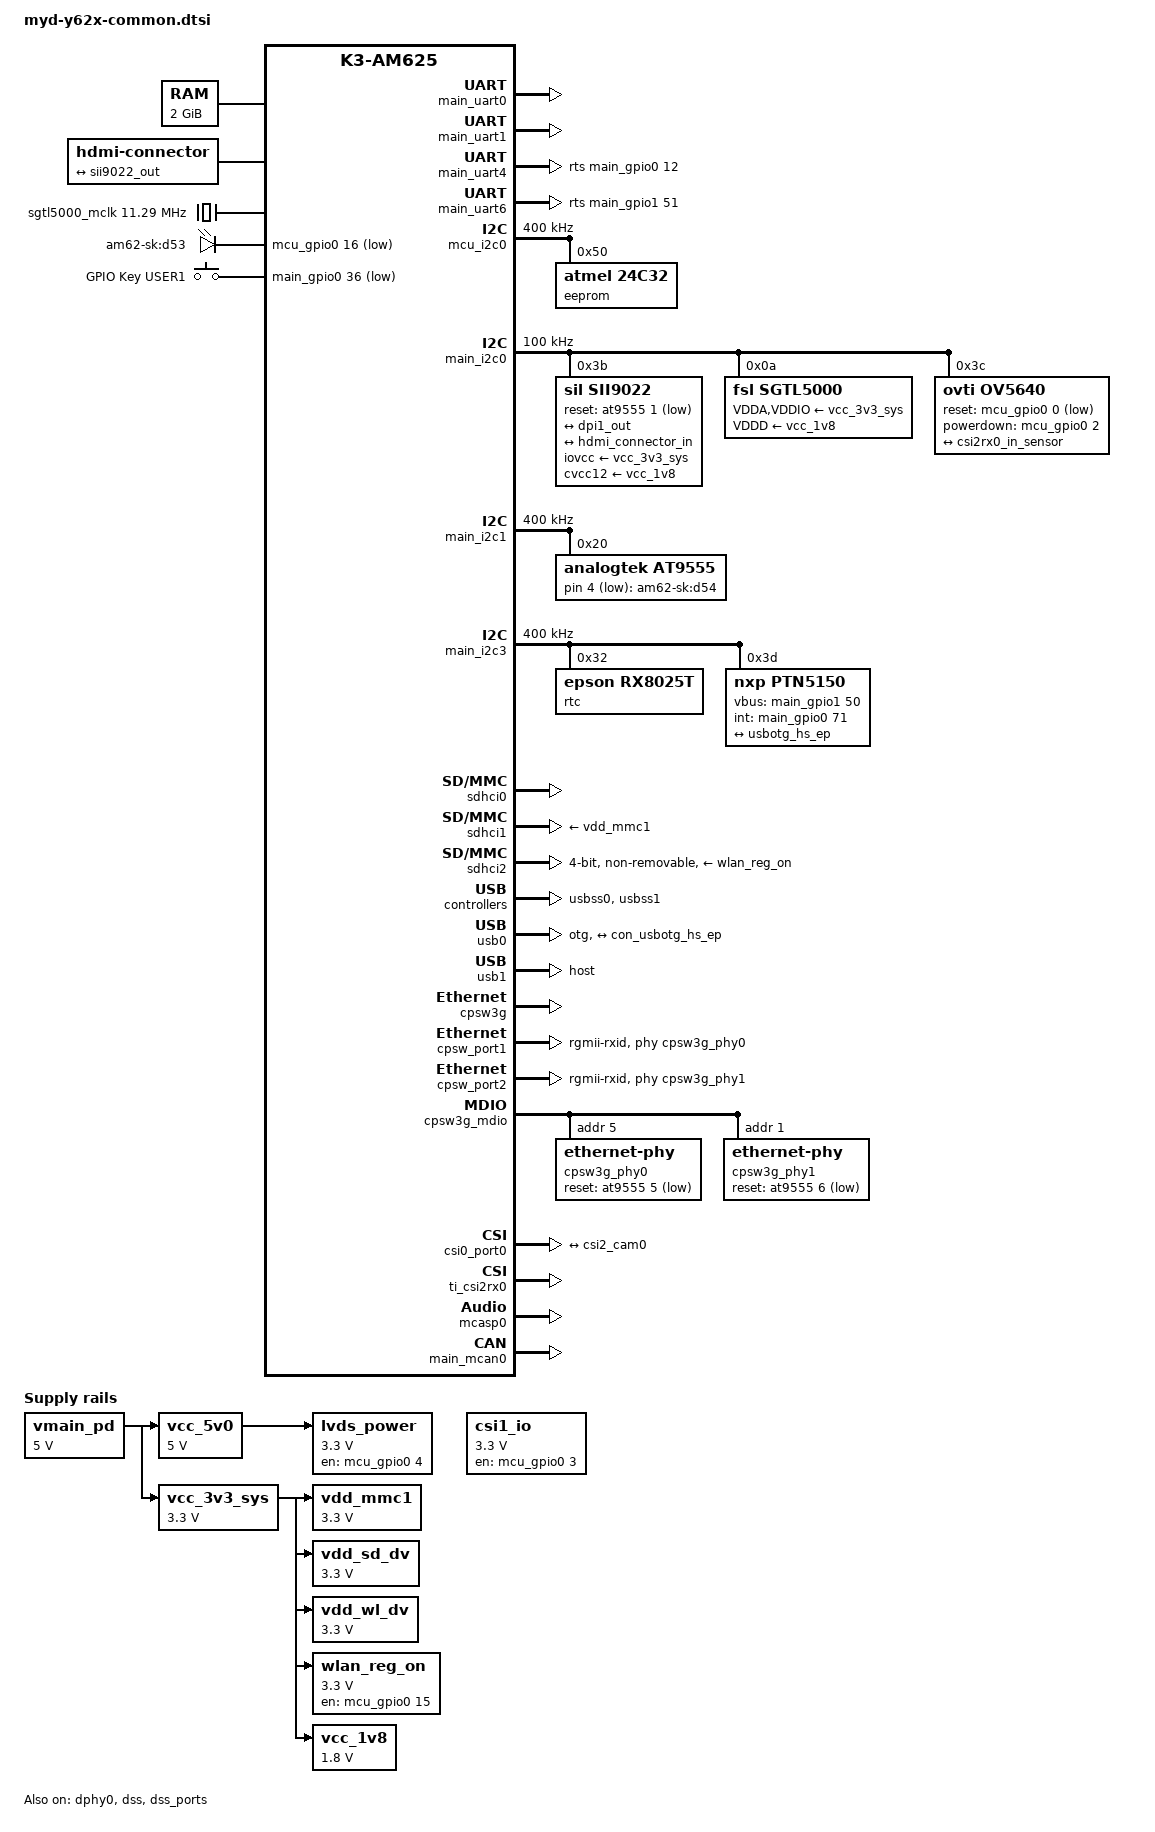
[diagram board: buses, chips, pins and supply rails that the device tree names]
// SPDX-License-Identifier: GPL-2.0
/*
 * Common dtsi for AM62x SK and derivatives
 *
 * Copyright (C) 2021-2023 Texas Instruments Incorporated - https://www.ti.com/
 */

#include <dt-bindings/leds/common.h>
#include <dt-bindings/gpio/gpio.h>
#include <dt-bindings/net/ti-dp83867.h>
#include <dt-bindings/input/input.h>
#include "k3-am625.dtsi"

/ {
	aliases {
		serial2 = &main_uart0;
		serial3 = &main_uart1;
		serial6 = &main_uart4;
		serial8 = &main_uart6;
		mmc0 = &sdhci0;
		mmc1 = &sdhci1;
		mmc2 = &sdhci2;
		spi0 = &ospi0;
		ethernet0 = &cpsw_port1;
		ethernet1 = &cpsw_port2;
		usb0 = &usb0;
		usb1 = &usb1;
	};

	chosen {
		stdout-path = "serial2:115200n8";
		bootargs = "console=ttyS2,115200n8 earlycon=ns16550a,mmio32,0x02800000";
	};

	opp-table {
		/* Add 1.4GHz OPP for am625-sk board. Requires VDD_CORE to be at 0.85V */
		opp-1400000000 {
			opp-hz = /bits/ 64 <1400000000>;
			opp-supported-hw = <0x01 0x0004>;
			clock-latency-ns = <6000000>;
		};
	};

	memory@80000000 {
		device_type = "memory";
		/* 2G RAM */
		reg = <0x00000000 0x80000000 0x00000000 0x80000000>;

	};

	reserved-memory {
		#address-cells = <2>;
		#size-cells = <2>;
		ranges;

		ramoops@9c700000 {
			compatible = "ramoops";
			reg = <0x00 0x9c700000 0x00 0x00100000>;
			record-size = <0x8000>;
			console-size = <0x8000>;
			ftrace-size = <0x00>;
			pmsg-size = <0x8000>;
		};



		rtos_ipc_memory_region: ipc-memories@9c800000 {
			compatible = "shared-dma-pool";
			reg = <0x00 0x9c800000 0x00 0x00300000>;
			no-map;
		};

		mcu_m4fss_dma_memory_region: m4f-dma-memory@9cb00000 {
			compatible = "shared-dma-pool";
			reg = <0x00 0x9cb00000 0x00 0x100000>;
			no-map;
		};

		mcu_m4fss_memory_region: m4f-memory@9cc00000 {
			compatible = "shared-dma-pool";
			reg = <0x00 0x9cc00000 0x00 0xe00000>;
			no-map;
		};

		wkup_r5fss0_core0_dma_memory_region: r5f-dma-memory@9da00000 {
			compatible = "shared-dma-pool";
			reg = <0x00 0x9da00000 0x00 0x00100000>;
			no-map;
		};

		wkup_r5fss0_core0_memory_region: r5f-memory@9db00000 {
			compatible = "shared-dma-pool";
			reg = <0x00 0x9db00000 0x00 0x00c00000>;
			no-map;
		};

		lpm_ctx_ddr: lpm-memory@9e700000 {
			reg = <0x00 0x9e700000 0x00 0x80000>;
			alignment = <0x1000>;
		};

		secure_tfa_ddr: tfa@9e780000 {
			reg = <0x00 0x9e780000 0x00 0x80000>;
			alignment = <0x1000>;
			no-map;
		};

		secure_ddr: optee@9e800000 {
			reg = <0x00 0x9e800000 0x00 0x01800000>; /* for OP-TEE */
			alignment = <0x1000>;
			no-map;
		};

		framebuffer: framebuffer@ff700000 {
			reg = <0x00 0xff700000 0x00 0x008ca000>;
			no-map;
		};
	};

	vmain_pd: regulator-0 {
		compatible = "regulator-fixed";
		regulator-name = "vmain_pd";
		regulator-min-microvolt = <5000000>;
		regulator-max-microvolt = <5000000>;
		regulator-always-on;
		regulator-boot-on;
	};

	vcc_5v0: regulator-1 {
		compatible = "regulator-fixed";
		regulator-name = "vcc_5v0";
		regulator-min-microvolt = <5000000>;
		regulator-max-microvolt = <5000000>;
		vin-supply = <&vmain_pd>;
		regulator-always-on;
		regulator-boot-on;
	};

	vcc_3v3_sys: regulator-2 {
		compatible = "regulator-fixed";
		regulator-name = "vcc_3v3_sys";
		regulator-min-microvolt = <3300000>;
		regulator-max-microvolt = <3300000>;
		vin-supply = <&vmain_pd>;
		regulator-always-on;
		regulator-boot-on;
	};

	vdd_mmc1: regulator-3 {
		compatible = "regulator-fixed";
		regulator-name = "vdd_mmc1";
		regulator-min-microvolt = <3300000>;
		regulator-max-microvolt = <3300000>;
		regulator-boot-on;
		enable-active-high;
		vin-supply = <&vcc_3v3_sys>;
	};

	vdd_sd_dv: regulator-sd {
		compatible = "regulator-fixed";
		regulator-name = "vdd_sd_dv";
		regulator-min-microvolt = <3300000>;
		regulator-max-microvolt = <3300000>;
		regulator-boot-on;
		enable-active-high;
		vin-supply = <&vcc_3v3_sys>;
	};

	vdd_wl_dv: regulator-wl {
		compatible = "regulator-fixed";
		regulator-name = "vdd_wl_dv";
		regulator-min-microvolt = <3300000>;
		regulator-max-microvolt = <3300000>;
		regulator-boot-on;
		enable-active-high;
		vin-supply = <&vcc_3v3_sys>;
	};

	wlan_reg_on: regulator-4 {
		compatible = "regulator-fixed";
		regulator-name = "wlan_reg_on";
		regulator-min-microvolt = <3300000>;
		regulator-max-microvolt = <3300000>;
		enable-active-high;
		regulator-boot-on;
		vin-supply = <&vcc_3v3_sys>;
		pinctrl-names = "default";
		pinctrl-1 = <&mcu_wlan_reg_on_pins_default>;
		gpios = <&mcu_gpio0 15 GPIO_ACTIVE_HIGH>;
	};

	vcc_1v8: regulator-5 {
		compatible = "regulator-fixed";
		regulator-name = "vcc_1v8";
		regulator-min-microvolt = <1800000>;
		regulator-max-microvolt = <1800000>;
		vin-supply = <&vcc_3v3_sys>;
		regulator-always-on;
		regulator-boot-on;
	};

	lvds_power: regulator-6 {
		compatible = "regulator-fixed";
		regulator-name = "lvds_power";
		regulator-min-microvolt = <3300000>;
		regulator-max-microvolt = <3300000>;
		enable-active-high;
		regulator-always-on;
		regulator-boot-on;
		vin-supply = <&vcc_5v0>;
		pinctrl-names = "default";
		pinctrl-1 = <&mcu_lvds_power_pins_default>;
		gpios = <&mcu_gpio0 4 GPIO_ACTIVE_HIGH>;
	};

	csi1_io: csi1-io {
		compatible = "regulator-fixed";
		regulator-name = "csi1_pwr";
		regulator-min-microvolt = <3300000>;
		regulator-max-microvolt = <3300000>;
		gpio = <&mcu_gpio0 3 GPIO_ACTIVE_HIGH>;
		enable-active-high;
		regulator-always-on;
		pinctrl-names = "default";
		pinctrl-1 = <&csi_io_power_pins_default>;
	};




	hdmi: connector {
		compatible = "hdmi-connector";
		label = "hdmi";
		type = "a";
		port {
			hdmi_connector_in: endpoint {
				remote-endpoint = <&sii9022_out>;
			};
		};
	};

	clk_ov5640_fixed: ov5640-xclk {
		compatible = "fixed-clock";
		#clock-cells = <0>;
		clock-frequency = <12000000>;
	};

	sgtl5000_mclk: sgtl5000-mclk {
		compatible = "fixed-clock";
		#clock-cells = <0>;
		clock-frequency = <11289600>;
	};

	codec_audio: sound {
		compatible = "simple-audio-card";
		simple-audio-card,name = "AM62x-SKEVM";
		simple-audio-card,widgets =
				"Microphone", "Microphone Jack",
				"Headphone", "Headphone Jack",
				"Speaker", "Speaker Ext",
				"Line", "Line In Jack";
		simple-audio-card,routing =
				"MIC_IN", "Microphone Jack",
				"Microphone Jack", "Mic Bias",
				"LINE_IN", "Line In Jack",
				"Headphone Jack", "HP_OUT",
				"Speaker Ext", "LINE_OUT";
		simple-audio-card,format = "i2s";
		simple-audio-card,mclk-fs = <256>;
		simple-audio-card,bitclock-master = <&sound_master>;
		simple-audio-card,frame-master = <&sound_master>;
		simple-audio-card,bitclock-inversion;

		simple-audio-card,cpu {
			sound-dai = <&mcasp0>;
		};

		sound_master: simple-audio-card,codec {
			sound-dai = <&sgtl5000>;
			clocks = <&sgtl5000_mclk>;
		};
	};

	leds {
		compatible = "gpio-leds";

		led-user {
			label = "am62-sk:d54";
			gpios = <&at9555 4 GPIO_ACTIVE_LOW>;
			max-brightness = <255>;
			linux,default-trigger = "heartbeat";
			function = LED_FUNCTION_HEARTBEAT;
			default-state = "off";
		};

		led-sys {
			label = "am62-sk:d53";
			pinctrl-names = "default";
			pinctrl-1 = <&mcu_run_led_pins_default>;
			gpios = <&mcu_gpio0 16 GPIO_ACTIVE_LOW>;
			linux,default-trigger = "heartbeat";
			function = LED_FUNCTION_HEARTBEAT;
			default-state = "on";
		};
	};

	gpio-keys {
		compatible = "gpio-keys";
		autorepeat;
		pinctrl-names = "default";
		pinctrl-0 = <&main_user_key_pins_default>;

		user: user {
			label = "GPIO Key USER1";
			linux,code = <BTN_0>;
			gpios = <&main_gpio0 36 GPIO_ACTIVE_LOW>;
		};
	};
};

&main_pmx0 {
	/* First pad number is ALW package and second is AMC package */
	main_uart0_pins_default: main-uart0-pins-default {
		pinctrl-single,pins = <
			AM62X_IOPAD(0x1c8, PIN_INPUT, 0) /* (D14/A13) UART0_RXD */
			AM62X_IOPAD(0x1cc, PIN_OUTPUT, 0) /* (E14/E11) UART0_TXD */
		>;
	};

	main_uart1_pins_default: main-uart1-pins-default {
		pinctrl-single,pins = <
			AM62X_IOPAD(0x0194, PIN_INPUT, 2) /* (B19) MCASP0_AXR3.UART1_CTSn */
			AM62X_IOPAD(0x0198, PIN_OUTPUT, 2) /* (A19) MCASP0_AXR2.UART1_RTSn */
			AM62X_IOPAD(0x01ac, PIN_INPUT, 2) /* (E19) MCASP0_AFSR.UART1_RXD */
			AM62X_IOPAD(0x01b0, PIN_OUTPUT, 2) /* (A20) MCASP0_ACLKR.UART1_TXD */
		>;
	};

	main_uart4_pins_default: main-uart4-pins-default {
		pinctrl-single,pins = <
			AM62X_IOPAD(0x00b0, PIN_INPUT, 3) /* (K22) GPMC0_CSn2.UART4_RXD */
			AM62X_IOPAD(0x00b4, PIN_OUTPUT, 3) /* (K24) GPMC0_CSn3.UART4_TXD */
		>;
	};

	main_uart4_rst_pins_default: main-uart4-rst-pins-default {
		pinctrl-single,pins = <
			AM62X_IOPAD(0x0030, PIN_INPUT, 7) /* (G21) OSPI0_CSn1.GPIO0_12 */
		>;
	};

	main_uart6_pins_default: main-uart6-pins-default {
		pinctrl-single,pins = <
			AM62X_IOPAD(0x009c, PIN_INPUT, 3) /* (V25) GPMC0_WAIT1.UART6_RXD */
			AM62X_IOPAD(0x00a0, PIN_OUTPUT, 3) /* (K25) GPMC0_WPn.UART6_TXD */
		>;
	};

	main_uart6_rst_pins_default: main-uart6-rst-pins-default {
		pinctrl-single,pins = <
			AM62X_IOPAD(0x0258, PIN_INPUT, 7) /* (F18) USB1_DRVVBUS.GPIO1_51 */
		>;
	};

	main_i2c0_pins_default: main-i2c0-pins-default {
		pinctrl-single,pins = <
			AM62X_IOPAD(0x1e0, PIN_INPUT_PULLUP, 0) /* (B16/E12) I2C0_SCL */
			AM62X_IOPAD(0x1e4, PIN_INPUT_PULLUP, 0) /* (A16/D14) I2C0_SDA */
		>;
	};

	main_i2c1_pins_default: main-i2c1-pins-default {
		pinctrl-single,pins = <
			AM62X_IOPAD(0x1e8, PIN_INPUT_PULLUP, 0) /* (B17/A17) I2C1_SCL */
			AM62X_IOPAD(0x1ec, PIN_INPUT_PULLUP, 0) /* (A17/A16) I2C1_SDA */
		>;
	};

	main_i2c3_pins_default: main-i2c3-pins-default {
		pinctrl-single,pins = <
			AM62X_IOPAD(0x1d0, PIN_INPUT_PULLUP, 2) /* (A15) UART0_CTSn.I2C3_SCL */
			AM62X_IOPAD(0x1d4, PIN_INPUT_PULLUP, 2) /* (B15) UART0_RTSn.I2C3_SDA */
		>;
	};

	main_mmc0_pins_default: main-mmc0-pins-default {
		pinctrl-single,pins = <
			AM62X_IOPAD(0x220, PIN_INPUT, 0) /* (Y3/V3) MMC0_CMD */
			AM62X_IOPAD(0x218, PIN_INPUT, 0) /* (AB1/Y1) MMC0_CLK */
			AM62X_IOPAD(0x214, PIN_INPUT, 0) /* (AA2/V2) MMC0_DAT0 */
			AM62X_IOPAD(0x210, PIN_INPUT, 0) /* (AA1/V1) MMC0_DAT1 */
			AM62X_IOPAD(0x20c, PIN_INPUT, 0) /* (AA3/W2) MMC0_DAT2 */
			AM62X_IOPAD(0x208, PIN_INPUT, 0) /* (Y4/W1) MMC0_DAT3 */
			AM62X_IOPAD(0x204, PIN_INPUT, 0) /* (AB2/Y2) MMC0_DAT4 */
			AM62X_IOPAD(0x200, PIN_INPUT, 0) /* (AC1/W3) MMC0_DAT5 */
			AM62X_IOPAD(0x1fc, PIN_INPUT, 0) /* (AD2/W4) MMC0_DAT6 */
			AM62X_IOPAD(0x1f8, PIN_INPUT, 0) /* (AC2/V4) MMC0_DAT7 */
		>;
	};

	main_mmc1_pins_default: main-mmc1-pins-default {
		pinctrl-single,pins = <
			AM62X_IOPAD(0x23c, PIN_INPUT, 0) /* (A21/C18) MMC1_CMD */
			AM62X_IOPAD(0x234, PIN_INPUT, 0) /* (B22/A20) MMC1_CLK */
			AM62X_IOPAD(0x230, PIN_INPUT, 0) /* (A22/A19) MMC1_DAT0 */
			AM62X_IOPAD(0x22c, PIN_INPUT, 0) /* (B21/B19) MMC1_DAT1 */
			AM62X_IOPAD(0x228, PIN_INPUT, 0) /* (C21/B20) MMC1_DAT2 */
			AM62X_IOPAD(0x224, PIN_INPUT, 0) /* (D22/C19) MMC1_DAT3 */
			AM62X_IOPAD(0x240, PIN_INPUT, 0) /* (D17/C15) MMC1_SDCD */
		>;
	};

	main_mmc2_pins_default: main-mmc2-pins-default {
		pinctrl-single,pins = <
			AM62X_IOPAD(0x120, PIN_INPUT, 0) /* (C24) MMC2_CMD */
			AM62X_IOPAD(0x118, PIN_INPUT, 0) /* (D25) MMC2_CLK */
			AM62X_IOPAD(0x114, PIN_INPUT, 0) /* (B24) MMC2_DAT0 */
			AM62X_IOPAD(0x110, PIN_INPUT, 0) /* (C25) MMC2_DAT1 */
			AM62X_IOPAD(0x10c, PIN_INPUT, 0) /* (E23) MMC2_DAT2 */
			AM62X_IOPAD(0x108, PIN_INPUT, 0) /* (D24) MMC2_DAT3 */
			AM62X_IOPAD(0x11c, PIN_INPUT, 0) /* (#N/A) MMC2_CLKB */
		>;
	};

	main_mdio1_pins_default: main-mdio1-pins-default {
		pinctrl-single,pins = <
			AM62X_IOPAD(0x160, PIN_OUTPUT, 0) /* (AD24/V17) MDIO0_MDC */
			AM62X_IOPAD(0x15c, PIN_INPUT, 0) /* (AB22/U16) MDIO0_MDIO */
		>;
	};

	main_rgmii1_pins_default: main-rgmii1-pins-default {
		pinctrl-single,pins = <
			AM62X_IOPAD(0x14c, PIN_INPUT, 0) /* (AB17/W15) RGMII1_RD0 */
			AM62X_IOPAD(0x150, PIN_INPUT, 0) /* (AC17/Y16) RGMII1_RD1 */
			AM62X_IOPAD(0x154, PIN_INPUT, 0) /* (AB16/AA17) RGMII1_RD2 */
			AM62X_IOPAD(0x158, PIN_INPUT, 0) /* (AA15/Y15) RGMII1_RD3 */
			AM62X_IOPAD(0x148, PIN_INPUT, 0) /* (AD17/AA16) RGMII1_RXC */
			AM62X_IOPAD(0x144, PIN_INPUT, 0) /* (AE17/W14) RGMII1_RX_CTL */
			AM62X_IOPAD(0x134, PIN_OUTPUT, 0) /* (AE20/U14) RGMII1_TD0 */
			AM62X_IOPAD(0x138, PIN_OUTPUT, 0) /* (AD20/AA19) RGMII1_TD1 */
			AM62X_IOPAD(0x13c, PIN_OUTPUT, 0) /* (AE18/Y17) RGMII1_TD2 */
			AM62X_IOPAD(0x140, PIN_OUTPUT, 0) /* (AD18/AA18) RGMII1_TD3 */
			AM62X_IOPAD(0x130, PIN_OUTPUT, 0) /* (AE19/W16) RGMII1_TXC */
			AM62X_IOPAD(0x12c, PIN_OUTPUT, 0) /* (AD19/V15) RGMII1_TX_CTL */
		>;
	};

	main_rgmii2_pins_default: main-rgmii2-pins-default {
		pinctrl-single,pins = <
			AM62X_IOPAD(0x184, PIN_INPUT, 0) /* (AE23) RGMII2_RD0 */
			AM62X_IOPAD(0x188, PIN_INPUT, 0) /* (AB20) RGMII2_RD1 */
			AM62X_IOPAD(0x18c, PIN_INPUT, 0) /* (AC21) RGMII2_RD2 */
			AM62X_IOPAD(0x190, PIN_INPUT, 0) /* (AE22) RGMII2_RD3 */
			AM62X_IOPAD(0x180, PIN_INPUT, 0) /* (AD23) RGMII2_RXC */
			AM62X_IOPAD(0x17c, PIN_INPUT, 0) /* (AD22) RGMII2_RX_CTL */
			AM62X_IOPAD(0x16c, PIN_OUTPUT, 0) /* (Y18) RGMII2_TD0 */
			AM62X_IOPAD(0x170, PIN_OUTPUT, 0) /* (AA18) RGMII2_TD1 */
			AM62X_IOPAD(0x174, PIN_OUTPUT, 0) /* (AD21) RGMII2_TD2 */
			AM62X_IOPAD(0x178, PIN_OUTPUT, 0) /* (AC20) RGMII2_TD3 */
			AM62X_IOPAD(0x168, PIN_OUTPUT, 0) /* (AE21) RGMII2_TXC */
			AM62X_IOPAD(0x164, PIN_OUTPUT, 0) /* (AA19) RGMII2_TX_CTL */
		>;
	};

	ospi0_pins_default: ospi0-pins-default {
		pinctrl-single,pins = <
			AM62X_IOPAD(0x0000, PIN_OUTPUT, 0) /* (H24) OSPI0_CLK */
			AM62X_IOPAD(0x002c, PIN_OUTPUT, 0) /* (F23) OSPI0_CSn0 */
			AM62X_IOPAD(0x000c, PIN_INPUT, 0) /* (E25) OSPI0_D0 */
			AM62X_IOPAD(0x0010, PIN_INPUT, 0) /* (G24) OSPI0_D1 */
			AM62X_IOPAD(0x0014, PIN_INPUT, 0) /* (F25) OSPI0_D2 */
			AM62X_IOPAD(0x0018, PIN_INPUT, 0) /* (F24) OSPI0_D3 */
		>;
	};

	main_spi1_pins_default: main-spi1-pins-default {
		pinctrl-single,pins = <
			AM62X_IOPAD(0x0020, PIN_INPUT, 1) /* (J25) OSPI0_D5.SPI1_CLK */
			AM62X_IOPAD(0x001c, PIN_INPUT, 1) /* (J23) OSPI0_D4.SPI1_CS0 */
			AM62X_IOPAD(0x0024, PIN_INPUT, 1) /* (H25) OSPI0_D6.SPI1_D0 */
			AM62X_IOPAD(0x0028, PIN_INPUT, 1) /* (J22) OSPI0_D7.SPI1_D1 */
		>;
	};
	
	ospi0_pins_default: ospi0-pins-default {
		pinctrl-single,pins = <
			AM62X_IOPAD(0x0000, PIN_OUTPUT, 0) /* (C6) OSPI0_CLK */
			AM62X_IOPAD(0x002c, PIN_OUTPUT, 0) /* (A3) OSPI0_CSn0 */
			AM62X_IOPAD(0x000c, PIN_INPUT, 0) /* (C4) OSPI0_D0 */
			AM62X_IOPAD(0x0010, PIN_INPUT, 0) /* (D4) OSPI0_D1 */
			AM62X_IOPAD(0x0014, PIN_INPUT, 0) /* (B5) OSPI0_D2 */
			AM62X_IOPAD(0x0018, PIN_INPUT, 0) /* (A5) OSPI0_D3 */
		>;
	};

	main_spi1_pins_default: main-spi1-pins-default {
		pinctrl-single,pins = <
			AM62X_IOPAD(0x20c, PIN_INPUT, 5) /* (G17) MMC0_DAT2.SPI1_CLK */
			AM62X_IOPAD(0x208, PIN_INPUT, 5) /* (H17) MMC0_DAT3.SPI1_CS0 */
			AM62X_IOPAD(0x1f8, PIN_INPUT, 5) /* (J16) MMC0_DAT7.SPI1_D0 */
			AM62X_IOPAD(0x1fc, PIN_INPUT, 5) /* (K17) MMC0_DAT6.SPI1_D1 */
		>;
	};

	main_dss0_pins_default: main-dss0-pins-default {
		pinctrl-single,pins = <
			AM62X_IOPAD(0x0100, PIN_OUTPUT, 0) /* (AC25) VOUT0_VSYNC */
			AM62X_IOPAD(0x00f8, PIN_OUTPUT, 0) /* (AB24) VOUT0_HSYNC */
			AM62X_IOPAD(0x0104, PIN_OUTPUT, 0) /* (AC24) VOUT0_PCLK */
			AM62X_IOPAD(0x00fc, PIN_OUTPUT, 0) /* (Y20) VOUT0_DE */
			AM62X_IOPAD(0x00b8, PIN_OUTPUT, 0) /* (U22) VOUT0_DATA0 */
			AM62X_IOPAD(0x00bc, PIN_OUTPUT, 0) /* (V24) VOUT0_DATA1 */
			AM62X_IOPAD(0x00c0, PIN_OUTPUT, 0) /* (W25) VOUT0_DATA2 */
			AM62X_IOPAD(0x00c4, PIN_OUTPUT, 0) /* (W24) VOUT0_DATA3 */
			AM62X_IOPAD(0x00c8, PIN_OUTPUT, 0) /* (Y25) VOUT0_DATA4 */
			AM62X_IOPAD(0x00cc, PIN_OUTPUT, 0) /* (Y24) VOUT0_DATA5 */
			AM62X_IOPAD(0x00d0, PIN_OUTPUT, 0) /* (Y23) VOUT0_DATA6 */
			AM62X_IOPAD(0x00d4, PIN_OUTPUT, 0) /* (AA25) VOUT0_DATA7 */
			AM62X_IOPAD(0x00d8, PIN_OUTPUT, 0) /* (V21) VOUT0_DATA8 */
			AM62X_IOPAD(0x00dc, PIN_OUTPUT, 0) /* (W21) VOUT0_DATA9 */
			AM62X_IOPAD(0x00e0, PIN_OUTPUT, 0) /* (V20) VOUT0_DATA10 */
			AM62X_IOPAD(0x00e4, PIN_OUTPUT, 0) /* (AA23) VOUT0_DATA11 */
			AM62X_IOPAD(0x00e8, PIN_OUTPUT, 0) /* (AB25) VOUT0_DATA12 */
			AM62X_IOPAD(0x00ec, PIN_OUTPUT, 0) /* (AA24) VOUT0_DATA13 */
			AM62X_IOPAD(0x00f0, PIN_OUTPUT, 0) /* (Y22) VOUT0_DATA14 */
			AM62X_IOPAD(0x00f4, PIN_OUTPUT, 0) /* (AA21) VOUT0_DATA15 */
			AM62X_IOPAD(0x005c, PIN_OUTPUT, 1) /* (R24) GPMC0_AD8.VOUT0_DATA16 */
			AM62X_IOPAD(0x0060, PIN_OUTPUT, 1) /* (R25) GPMC0_AD9.VOUT0_DATA17 */
			AM62X_IOPAD(0x0064, PIN_OUTPUT, 1) /* (T25) GPMC0_AD10.VOUT0_DATA18 */
			AM62X_IOPAD(0x0068, PIN_OUTPUT, 1) /* (R21) GPMC0_AD11.VOUT0_DATA19 */
			AM62X_IOPAD(0x006c, PIN_OUTPUT, 1) /* (T22) GPMC0_AD12.VOUT0_DATA20 */
			AM62X_IOPAD(0x0070, PIN_OUTPUT, 1) /* (T24) GPMC0_AD13.VOUT0_DATA21 */
			AM62X_IOPAD(0x0074, PIN_OUTPUT, 1) /* (U25) GPMC0_AD14.VOUT0_DATA22 */
			AM62X_IOPAD(0x0078, PIN_OUTPUT, 1) /* (U24) GPMC0_AD15.VOUT0_DATA23 */
		>;
	};



	main_mcasp1_pins_default: main-mcasp1-pins-default {
		pinctrl-single,pins = <
			AM62X_IOPAD(0x0090, PIN_INPUT, 2) /* (M24) GPMC0_BE0N_CLE.MCASP1_ACLKX */
			AM62X_IOPAD(0x0098, PIN_INPUT, 2) /* (U23) GPMC0_WAIT0.MCASP1_AFSX */
			AM62X_IOPAD(0x008c, PIN_OUTPUT, 2) /* (L25) GPMC0_WEN.MCASP1_AXR0 */
			AM62X_IOPAD(0x0084, PIN_INPUT, 2) /* (L23) GPMC0_ADVN_ALE.MCASP1_AXR2 */
		>;
	};

	main_mcasp0_pins_default: main-mcasp0-pins-default {
		pinctrl-single,pins = <
			AM62X_IOPAD(0x01a4, PIN_INPUT, 0) /* (B20) MCASP0_ACLKX.MCASP0_ACLKX */
			AM62X_IOPAD(0x01a8, PIN_INPUT, 0) /* (D20) MCASP0_AFSX.MCASP0_AFSX */
			AM62X_IOPAD(0x01a0, PIN_OUTPUT, 0) /* (E18) MCASP0_AXR0.MCASP0_AXR0 */
			AM62X_IOPAD(0x019c, PIN_INPUT, 0) /* (B18) MCASP0_AXR1.MCASP0_AXR1 */	
		>;
	};

	main_ptn5150_vbus_pins_default: main-ptn5150-vbus-pins-default {
		pinctrl-single,pins = <
			AM62X_IOPAD(0x254, PIN_OUTPUT, 7) /* (C20) USB0_DRVVBUS.GPIO1_50 */
			AM62X_IOPAD(0x124, PIN_INPUT, 7) /* (A23) MMC2_SDCD.GPIO0_71 */

		>;
	};
	main_user_key_pins_default: main-user-key-pins-default {
		pinctrl-single,pins = <
			AM62X_IOPAD(0x0094, PIN_INPUT, 7) /* (N20) GPMC0_BE1n.GPIO0_36 */
		>;
	};

	main_mcan0_pins_default: main_mcan0_pins_default {
		pinctrl-single,pins = <
			AM62X_IOPAD(0x01d8, PIN_OUTPUT, 0) /* (C15) SoC_UART1_DTRn.MCAN0_TX */
			AM62X_IOPAD(0x01dc, PIN_INPUT, 0) /* (E15) SoC_UART1_RIn.MCAN0_RX */
		>;		
	};
};

&mcu_pmx0 {

	mcu_i2c0_pins_default: mcu-i2c0-pins-default {
		pinctrl-single,pins = <
			AM62X_MCU_IOPAD(0x0044, PIN_INPUT, 0) /* (A8) MCU_I2C0_SCL */
			AM62X_MCU_IOPAD(0x0048, PIN_INPUT, 0) /* (D10) MCU_I2C0_SDA */
		>;
	};

	mcu_wlan_reg_on_pins_default: mcu-wl-reg-on-pins-default {
		pinctrl-single,pins = <
			AM62X_MCU_IOPAD(0x003c, PIN_OUTPUT_PULLUP, 7) /* (E5) MCU_MCAN1_TX.MCU_GPIO0_15 */
		>;
	};

	mcu_lvds_power_pins_default: mcu-lvds-power-pins-default {
		pinctrl-single,pins = <
			AM62X_MCU_IOPAD(0x0010, PIN_OUTPUT_PULLUP, 7) /* (C9) MCU_SPI0_D1.MCU_GPIO0_4 */
		>;
	};
	csi_io_power_pins_default:csi-io-power-pins-default {
		pinctrl-single,pins = <
			AM62X_MCU_IOPAD(0x000c, PIN_OUTPUT, 7) /* (D9) MCU_SPI0_D0.MCU_GPIO0_3   VDD */
		>;
	};
	
	mcu_run_led_pins_default: mymcugpio1-pins-default {
		pinctrl-single,pins = <
			AM62X_MCU_IOPAD(0x0040, PIN_INPUT, 7) /* (D4) MCU_MCAN1_RX.MCU_GPIO0_16 */
		>;
	};
	mcu_ov5640_gpio_pins_default: mcu-ov5640-gpio-pins-default {
		pinctrl-single,pins = <
			AM62X_MCU_IOPAD(0x0000, PIN_OUTPUT, 7) /* (E8) MCU_SPI0_CS0.MCU_GPIO0_0  RST */
			AM62X_MCU_IOPAD(0x0008, PIN_OUTPUT, 7) /* (A7) MCU_SPI0_CLK.MCU_GPIO0_2  PWR */
		>;
	};
};

&mcu_gpio0 {
	pinctrl-names ="default";
	pinctrl-0=<
				&mcu_wlan_reg_on_pins_default 				
				&mcu_lvds_power_pins_default
				&mcu_run_led_pins_default>;
	status = "okay";
};

&main_gpio0 {
	pinctrl-names ="default";

	status = "okay";
};

&wkup_uart0 {
	/* WKUP UART0 is used by DM firmware */
	status = "reserved";
};

&main_uart0 {
	pinctrl-names = "default";
	pinctrl-0 = <&main_uart0_pins_default>;
	status = "okay";
	interrupts-extended = <&gic500 GIC_SPI 178 IRQ_TYPE_LEVEL_HIGH>,
		       	<&main_pmx0 0x1c8>; /* (D14) UART0_RXD PADCONFIG114 */
	interrupt-names = "irq", "wakeup";
};

&main_uart1 {
	/* Main UART1 is used by TIFS firmware */
	pinctrl-names = "default";
	pinctrl-0 = <&main_uart1_pins_default>;
	status = "okay";
};

&main_uart4 {
	pinctrl-names = "default";
	pinctrl-0 = <&main_uart4_pins_default &main_uart4_rst_pins_default>;
  rts-gpios = <&main_gpio0 12 GPIO_ACTIVE_HIGH>;
	rs485-rx-during-tx;
	rs485-rts-delay = <1 1>;
	linux,rs485-enabled-at-boot-time;
	status = "okay";

};

&main_uart6 {
	pinctrl-names = "default";
	pinctrl-0 = <&main_uart6_pins_default &main_uart6_rst_pins_default>;
	rts-gpios = <&main_gpio1 51 GPIO_ACTIVE_HIGH>;
	rs485-rx-during-tx;
	rs485-rts-delay = <1 1>;
	linux,rs485-enabled-at-boot-time;
	status = "okay";
};

&mcu_i2c0 {
	pinctrl-names = "default";
	pinctrl-0 = <&mcu_i2c0_pins_default>;
	clock-frequency = <400000>;
	status = "okay";

	eeprom: 24c32@50 {
		compatible = "atmel,24c32";
		reg = <0x50>;
		pagesize = <32>;
	};
};

&main_i2c0 {
	pinctrl-names = "default";
	pinctrl-0 = <&main_i2c0_pins_default>;
	clock-frequency = <100000>;
	status = "okay";
	
		sii9022: sii9022@3b {
		#sound-dai-cells = <0>;
		compatible = "sil,sii9022";
		reg = <0x3b>;
		status = "okay";
		iovcc-supply = <&vcc_3v3_sys>;
		cvcc12-supply = <&vcc_1v8>;
	
		reset-gpios = <&at9555 1 GPIO_ACTIVE_LOW>;

  

		sil,i2s-data-lanes = < 0 >;

		ports {
			#address-cells = <1>;
			#size-cells = <0>;

			port@0 {
				reg = <0>;

				sii9022_in: endpoint {
					remote-endpoint = <&dpi1_out>;
				};
			};

			port@1 {
				reg = <1>;

				sii9022_out: endpoint {
					remote-endpoint = <&hdmi_connector_in>;
				};
			};
		};
	};

	sgtl5000: audio-codec@a {
		compatible = "fsl,sgtl5000";
		status = "okay";
		reg = <0xa>;
		#sound-dai-cells = <0>;
		clocks = <&sgtl5000_mclk>;
		// micbias-resistor-k-ohms = <2>;
		// micbias-voltage-m-volts = <2250>;
		VDDA-supply = <&vcc_3v3_sys>;
		VDDIO-supply = <&vcc_3v3_sys>;
		VDDD-supply = <&vcc_1v8>;
	};

	ov5640: camera@3c {
		compatible = "ovti,ov5640";
		reg = <0x3c>;
		status = "okay";
		clocks = <&clk_ov5640_fixed>;
		clock-names = "xclk";
		pinctrl-names ="default";
		pinctrl-0=<&mcu_ov5640_gpio_pins_default>;
		reset-gpios = <&mcu_gpio0 0 GPIO_ACTIVE_LOW>;
		powerdown-gpios = <&mcu_gpio0 2 GPIO_ACTIVE_HIGH>;


		port {
			csi2_cam0: endpoint {
				remote-endpoint = <&csi2rx0_in_sensor>;
				clock-lanes = <0>;
				data-lanes = <1 2>;
			};
		};
	};

};

&main_i2c1 {
	pinctrl-names = "default";
	pinctrl-0 = <&main_i2c1_pins_default>;
	clock-frequency = <400000>;
	status = "okay";
	at9555: at9555@20 {
		compatible = "analogtek,at9555";
		reg = <0x20>;
		#gpio-cells = <2>;
		gpio_base = <530>;
		interrupt-controller;
		#interrupt-cells = <2>;
		status = "okay";
	};
};

&main_i2c2 {
	status = "disabled";
};

&main_i2c3 {
	pinctrl-names = "default";
	pinctrl-0 = <&main_i2c3_pins_default>;
	clock-frequency = <400000>;
	status = "okay";
	rtc: rtc@32 {
		compatible = "epson,rx8025t";
		reg = <0x32>;
		status = "okay";
    };

	ptn5150: ptn5150@3d {
		compatible = "nxp,ptn5150";
		reg = <0x3d>;
		pinctrl-names = "default";
		pinctrl-0 = <&main_ptn5150_vbus_pins_default>;
		vbus-gpios = <&main_gpio1 50 GPIO_ACTIVE_HIGH>;
		int-gpios = <&main_gpio0 71 IRQ_TYPE_EDGE_FALLING>;
		status = "okay";

		connector {
			compatible = "usb-c-connector";
			label = "USB-C";
			port {
				con_usbotg_hs_ep: endpoint {
					remote-endpoint = <&usbotg_hs_ep>;
				};
			};
		};
	};
};

&sdhci0 {
	pinctrl-names = "default";
	pinctrl-0 = <&main_mmc0_pins_default>;
	ti,driver-strength-ohm = <50>;
	disable-wp;
	status = "okay";
};

&sdhci1 {
	/* SD/MMC */
	vmmc-supply = <&vdd_mmc1>;
	vqmmc-supply = <&vdd_sd_dv>;
	pinctrl-names = "default";
	pinctrl-0 = <&main_mmc1_pins_default>;
	ti,driver-strength-ohm = <50>;
	disable-wp;
	status = "okay";
};

&sdhci2 {
	vmmc-supply = <&wlan_reg_on>;
	vqmmc-supply = <&vdd_wl_dv>;
	no-1-8-v;
	pinctrl-names = "default";
	pinctrl-0 = <&main_mmc2_pins_default>;
	bus-width = <4>;
	non-removable;
	ti,fails-without-test-cd;
	cap-power-off-card;
	keep-power-in-suspend;
	ti,driver-strength-ohm = <50>;
	disable-wp;
	assigned-clocks = <&k3_clks 157 158>;
	assigned-clock-parents = <&k3_clks 157 160>;
	status = "okay";
};


&usbss0 {
        status = "okay";
        ti,vbus-divider;
};
&usbss1 {
	status = "okay";
	ti,vbus-divider;
};

&usb0 {
	#address-cells = <1>;
	#size-cells = <0>;
	usb-role-switch;
	dr_mode = "otg";
	role-switch-default-mode = "host";
	status = "okay";
	
	port@0 {
		reg = <0>;
		usbotg_hs_ep: endpoint {
			remote-endpoint = <&con_usbotg_hs_ep>;
		};
	};
};

&usb1 {
	dr_mode = "host";
	status = "okay";
};
&cpsw3g {
	pinctrl-names = "default";
	pinctrl-0 = <
				 &main_rgmii1_pins_default
		     &main_rgmii2_pins_default>;
	status = "okay";
};

&cpsw_port1 {
	phy-mode = "rgmii-rxid";
	phy-handle = <&cpsw3g_phy0>;
	status = "okay";
};

&cpsw_port2 {
	phy-mode = "rgmii-rxid";
	phy-handle = <&cpsw3g_phy1>;
	status = "okay";
};

&cpsw3g_mdio {
	status = "okay";
	pinctrl-names = "default";
	pinctrl-0 = <&main_mdio1_pins_default>;
	cpsw3g_phy0: ethernet-phy@0 {
		reg = <5>;
		reset-gpios = <&at9555 5 GPIO_ACTIVE_LOW>;
		reset-assert-us = <10000>;
		reset-deassert-us = <20000>;
	};
	
	cpsw3g_phy1: ethernet-phy@1 {
		reg = <1>;
		reset-gpios = <&at9555 6 GPIO_ACTIVE_LOW>;
		reset-assert-us = <10000>;
		reset-deassert-us = <20000>;
	};
};

&csi0_port0 {
	status = "okay";

	csi2rx0_in_sensor: endpoint {
		remote-endpoint = <&csi2_cam0>;
		// bus-type = <4>; /* CSI2 DPHY. */
		clock-lanes = <0>;
		data-lanes = <1 2>;
	};
};

&ti_csi2rx0 {
	status = "okay";
};

&dphy0 {
	status = "okay";
};

&dss {
	pinctrl-names = "default";
	pinctrl-0 = <&main_dss0_pins_default>;
	status = "okay";
};

&dss_ports {
	status = "okay";
	/* VP2: DPI Output */
	port@1 {
		reg = <1>;

		dpi1_out: endpoint {
			remote-endpoint = <&sii9022_in>;
		};
	};
};

&mcasp0 {
	status = "okay";
	#sound-dai-cells = <0>;
	pinctrl-names = "default";
	pinctrl-0 = <&main_mcasp0_pins_default>;
	
	op-mode = <0>;          /* MCASP_IIS_MODE */
	tdm-slots = <2>;
	/* 16 serializers */
	serial-dir = <  /* 0: INACTIVE, 1: TX, 2: RX */
	       1 2 0 0
	       0 0 0 0
	       0 0 0 0
	       0 0 0 0
	>;
	tx-num-evt = <32>;
	rx-num-evt = <32>;
};


&mcasp2 {
	status = "disabled";
};

&mailbox0_cluster0 {
	mbox_m4_0: mbox-m4-0 {
		ti,mbox-rx = <0 0 0>;
		ti,mbox-tx = <1 0 0>;
	};

	mbox_r5_0: mbox-r5-0 {
		ti,mbox-rx = <2 0 0>;
		ti,mbox-tx = <3 0 0>;
	};
};

&mcu_m4fss {
	mboxes = <&mailbox0_cluster0 &mbox_m4_0>;
	memory-region = <&mcu_m4fss_dma_memory_region>,
			<&mcu_m4fss_memory_region>;
};

&wkup_r5fss0_core0 {
	mboxes = <&mailbox0_cluster0 &mbox_r5_0>;
	memory-region = <&wkup_r5fss0_core0_dma_memory_region>,
			<&wkup_r5fss0_core0_memory_region>;
};

&main_mcan0 {
	pinctrl-names = "default";
	pinctrl-0 = <&main_mcan0_pins_default>;
	status = "okay";
};










